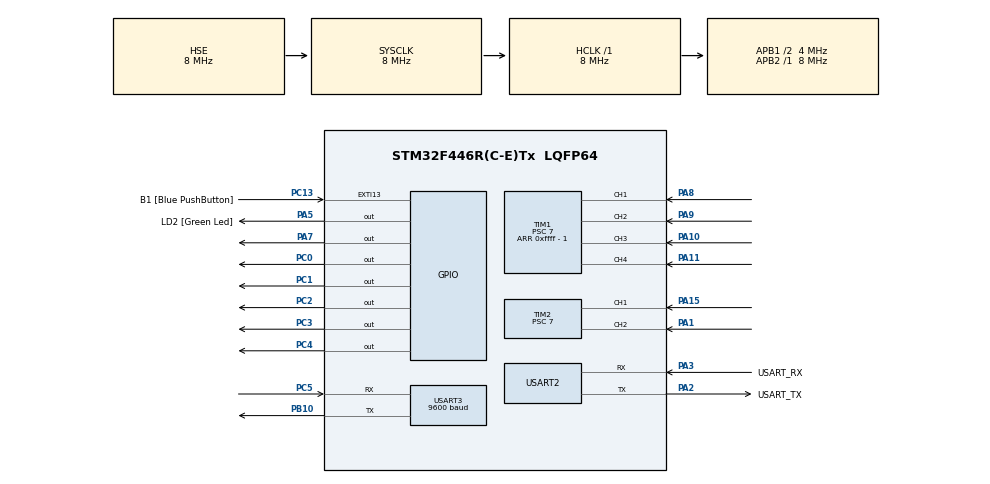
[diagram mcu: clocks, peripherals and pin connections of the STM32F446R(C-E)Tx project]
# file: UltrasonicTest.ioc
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Mcu.Family=STM32F4
Mcu.Name=STM32F446R(C-E)Tx
Mcu.Package=LQFP64
NVIC.PriorityGroup=NVIC_PRIORITYGROUP_0
NVIC.TIM1_CC_IRQn=true\:0\:0\:false\:false\:true\:true\:true\:true
NVIC.TIM2_IRQn=true\:0\:0\:false\:false\:true\:true\:true\:true
PA1.Signal=S_TIM2_CH2
PA10.Signal=S_TIM1_CH3
PA11.Signal=S_TIM1_CH4
PA13.GPIO_Label=TMS
PA13.Mode=Serial_Wire
PA13.Signal=SYS_JTMS-SWDIO
PA14.GPIO_Label=TCK
PA14.Mode=Serial_Wire
PA14.Signal=SYS_JTCK-SWCLK
PA15.Signal=S_TIM2_CH1_ETR
PA2.GPIO_Label=USART_TX
PA2.Mode=Asynchronous
PA2.Signal=USART2_TX
PA3.GPIO_Label=USART_RX
PA3.Mode=Asynchronous
PA3.Signal=USART2_RX
PA5.GPIO_Label=LD2 [Green Led]
PA5.Signal=GPIO_Output
PA7.Signal=GPIO_Output
PA8.Signal=S_TIM1_CH1
PA9.Signal=S_TIM1_CH2
PB10.Mode=Asynchronous
PB10.Signal=USART3_TX
PB3.GPIO_Label=SWO
PB3.Signal=SYS_JTDO-SWO
PC0.Signal=GPIO_Output
PC1.Signal=GPIO_Output
PC13.GPIO_Label=B1 [Blue PushButton]
PC13.GPIO_ModeDefaultEXTI=GPIO_MODE_IT_FALLING
PC13.Signal=GPXTI13
PC14-OSC32_IN.Mode=LSE-External-Oscillator
PC14-OSC32_IN.Signal=RCC_OSC32_IN
PC15-OSC32_OUT.Mode=LSE-External-Oscillator
PC15-OSC32_OUT.Signal=RCC_OSC32_OUT
PC2.Signal=GPIO_Output
PC3.Signal=GPIO_Output
PC4.Signal=GPIO_Output
PC5.Mode=Asynchronous
PC5.Signal=USART3_RX
PH0-OSC_IN.Mode=HSE-External-Oscillator
PH0-OSC_IN.Signal=RCC_OSC_IN
PH1-OSC_OUT.Mode=HSE-External-Oscillator
PH1-OSC_OUT.Signal=RCC_OSC_OUT
ProjectManager.HeapSize=0x200
ProjectManager.StackSize=0x400
ProjectManager.TargetToolchain=STM32CubeIDE
RCC.48MHZClocksFreq_Value=84000000
RCC.AHBFreq_Value=8000000
RCC.APB1CLKDivider=RCC_HCLK_DIV2
RCC.APB1Freq_Value=4000000
RCC.APB1TimFreq_Value=8000000
RCC.APB2Freq_Value=8000000
RCC.APB2TimFreq_Value=8000000
RCC.CortexFreq_Value=8000000
RCC.FLatency-AdvancedSettings=FLASH_LATENCY_0
RCC.HCLKFreq_Value=8000000
RCC.HSE_VALUE=8000000
RCC.HSI_VALUE=16000000
RCC.PLLN=336
RCC.PLLP=RCC_PLLP_DIV4
RCC.PLLSourceVirtual=RCC_PLLSOURCE_HSE
RCC.SYSCLKFreq_VALUE=8000000
RCC.SYSCLKSource=RCC_SYSCLKSOURCE_HSE
RCC.USBFreq_Value=84000000
RCC.VCOOutputFreq_Value=168000000
SH.S_TIM1_CH1.0=TIM1_CH1,Input_Capture1_from_TI1
SH.S_TIM1_CH2.0=TIM1_CH2,Input_Capture2_from_TI2
SH.S_TIM1_CH3.0=TIM1_CH3,Input_Capture3_from_TI3
SH.S_TIM1_CH4.0=TIM1_CH4,Input_Capture4_from_TI4
SH.S_TIM2_CH1_ETR.0=TIM2_CH1,Input_Capture1_from_TI1
SH.S_TIM2_CH2.0=TIM2_CH2,Input_Capture2_from_TI2
TIM1.Channel-Input_Capture1_from_TI1=TIM_CHANNEL_1
TIM1.Channel-Input_Capture2_from_TI2=TIM_CHANNEL_2
TIM1.Channel-Input_Capture3_from_TI3=TIM_CHANNEL_3
TIM1.Channel-Input_Capture4_from_TI4=TIM_CHANNEL_4
TIM1.Period=0xffff - 1
TIM1.Prescaler=7
TIM2.Channel-Input_Capture1_from_TI1=TIM_CHANNEL_1
TIM2.Channel-Input_Capture2_from_TI2=TIM_CHANNEL_2
TIM2.Period=0xffff -1
TIM2.Prescaler=7
USART2.VirtualMode=VM_ASYNC
USART3.BaudRate=9600
USART3.VirtualMode=VM_ASYNC
VP_TIM1_VS_ClockSourceINT.Mode=Internal
VP_TIM2_VS_ClockSourceINT.Mode=Internal
board=NUCLEO-F446RE

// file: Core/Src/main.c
/* USER CODE BEGIN Header */
/**
  ******************************************************************************
  * @file           : main.c
  * @brief          : Main program body
  ******************************************************************************
  * @attention
  *
  * Copyright (c) 2024 STMicroelectronics.
  * All rights reserved.
  *
  * This software is licensed under terms that can be found in the LICENSE file
  * in the root directory of this software component.
  * If no LICENSE file comes with this software, it is provided AS-IS.
  *
  ******************************************************************************
  */
/* USER CODE END Header */
#include "main.h"
#include "tim.h"
#include "usart.h"
#include "gpio.h"

/* USER CODE BEGIN Includes */

#include "Ultrasonic.h"

/* USER CODE END Includes */

void SystemClock_Config(void);

/* USER CODE BEGIN 0 */

extern uint16_t Ultrasonic_Read[6] ;

/* USER CODE END 0 */

int main(void)
{

  /* MCU Configuration--------------------------------------------------------*/

  /* Reset of all peripherals, Initializes the Flash interface and the Systick. */
  HAL_Init();

  /* Configure the system clock */
  SystemClock_Config();

  /* Initialize all configured peripherals */
  MX_GPIO_Init();
  MX_USART2_UART_Init();
  MX_TIM1_Init();
  MX_USART3_UART_Init();
  MX_TIM2_Init();
  /* USER CODE BEGIN 2 */

  /*  ⚠�?used to set ICU interrupt   */
  UltrasonicInit();

  /* USER CODE END 2 */

  /* Infinite loop */
  /* USER CODE BEGIN WHILE */
  while (1)
  {
	  for(uint8_t it = 0 ; it < 6; it++)
	  {

	    Ultrasonic_Distance(it,&Ultrasonic_Read[it]);
	    HAL_UART_Transmit(&huart3,(uint8_t * )"Ultrasonic",10,1000);
	    switch(it)
	    {
	    case USF :
	    	HAL_UART_Transmit(&huart3,(uint8_t * )"1: ",3,1000);
	    	break;
	    case USB :
	    	HAL_UART_Transmit(&huart3,(uint8_t * )"2: ",3,1000);
			break;
	    case USFR :
	    	HAL_UART_Transmit(&huart3,(uint8_t * )"3: ",3,1000);
			break;
	    case USBR :
	    	HAL_UART_Transmit(&huart3,(uint8_t * )"4: ",3,1000);
			break;
	    case USFL :
	    	HAL_UART_Transmit(&huart3,(uint8_t * )"5: ",3,1000);
			break;
	    case USBL:
	    	HAL_UART_Transmit(&huart3,(uint8_t * )"6: ",3,1000);
			break;
	    }

		uint16_t Num  = Ultrasonic_Read[it];
		uint16_t reversed_Num = 0 ;
		uint8_t I2S[6] = {};
		uint8_t Count_Num = 0;
		uint8_t ten_multiple = 0 ;
		uint8_t firstZeros = 0 ;
		while(Num > 0)
		{
		  reversed_Num *= 10 ;
		  if(firstZeros == 0)
		  {
			  if( (Num %10 ) == 0)
			  {
				  ten_multiple++;
			  }
			  else
			  {
				  firstZeros = 1 ;
			  }
		  }
		  reversed_Num += Num %10 ;
		  Num /= 10;
		}
		while(reversed_Num > 0)
		{
		  I2S[Count_Num] = (reversed_Num % 10) + '0';
		  reversed_Num /= 10;
		  Count_Num++;
		}
		while(ten_multiple)
		{
			I2S[Count_Num] = '0';
		    Count_Num++;
		    ten_multiple--;
		}
		I2S[Count_Num] = '\0';

		HAL_UART_Transmit(&huart3,(uint8_t * )I2S,Count_Num,1000);
		HAL_UART_Transmit(&huart3,(uint8_t * )"\r ",1,1000);
	  }

		HAL_UART_Transmit(&huart3,(uint8_t * )"-------------------\r",20,1000);

    /* USER CODE END WHILE */

  }
}

void SystemClock_Config(void)
{
  RCC_OscInitTypeDef RCC_OscInitStruct = {0};
  RCC_ClkInitTypeDef RCC_ClkInitStruct = {0};

  /** Configure the main internal regulator output voltage
  */
  __HAL_RCC_PWR_CLK_ENABLE();
  __HAL_PWR_VOLTAGESCALING_CONFIG(PWR_REGULATOR_VOLTAGE_SCALE3);

  /** Initializes the RCC Oscillators according to the specified parameters
  * in the RCC_OscInitTypeDef structure.
  */
  RCC_OscInitStruct.OscillatorType = RCC_OSCILLATORTYPE_HSE;
  RCC_OscInitStruct.HSEState = RCC_HSE_ON;
  RCC_OscInitStruct.PLL.PLLState = RCC_PLL_NONE;
  if (HAL_RCC_OscConfig(&RCC_OscInitStruct) != HAL_OK)
  {
    Error_Handler();
  }

  /** Initializes the CPU, AHB and APB buses clocks
  */
  RCC_ClkInitStruct.ClockType = RCC_CLOCKTYPE_HCLK|RCC_CLOCKTYPE_SYSCLK
                              |RCC_CLOCKTYPE_PCLK1|RCC_CLOCKTYPE_PCLK2;
  RCC_ClkInitStruct.SYSCLKSource = RCC_SYSCLKSOURCE_HSE;
  RCC_ClkInitStruct.AHBCLKDivider = RCC_SYSCLK_DIV1;
  RCC_ClkInitStruct.APB1CLKDivider = RCC_HCLK_DIV2;
  RCC_ClkInitStruct.APB2CLKDivider = RCC_HCLK_DIV1;

  if (HAL_RCC_ClockConfig(&RCC_ClkInitStruct, FLASH_LATENCY_0) != HAL_OK)
  {
    Error_Handler();
  }
}

void Error_Handler(void)
{
  __disable_irq();
  while (1)
  {
  }
}
